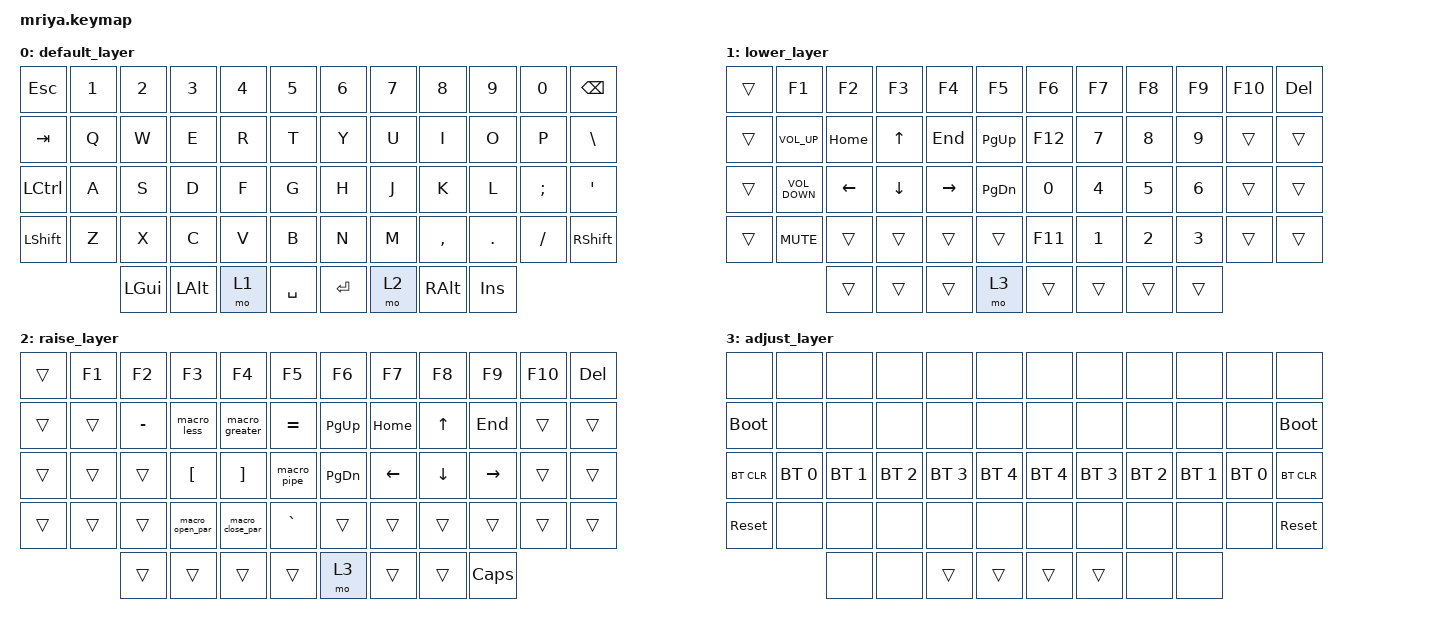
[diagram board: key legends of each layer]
/*
 * Copyright (c) 2023 Andrei Gaevskii
 *
 * SPDX-License-Identifier: MIT
 */

#include <behaviors.dtsi>
#include <dt-bindings/zmk/bt.h>
#include <dt-bindings/zmk/keys.h>

#define DEF 0
#define LWR 1
#define RSE 2
#define ADJ 3

&lt { quick_tap_ms = <200>; };

&mt { quick_tap_ms = <200>; };

/ {
    macros {
        macro_less: macro_less {
            compatible = "zmk,behavior-macro";
            #binding-cells = <0>;
            bindings =
                <&macro_press>,
                <&kp LEFT_SHIFT>,
                <&macro_tap>,
                <&kp COMMA>,
                <&macro_release>,
                <&kp LEFT_SHIFT>;

            label = "MACRO_LESS";
            wait-ms = <20>;
        };

        macro_greater: macro_greater {
            compatible = "zmk,behavior-macro";
            #binding-cells = <0>;
            bindings =
                <&macro_press>,
                <&kp LEFT_SHIFT>,
                <&macro_tap>,
                <&kp PERIOD>,
                <&macro_release>,
                <&kp LEFT_SHIFT>;

            label = "MACRO_GREATER";
            wait-ms = <20>;
        };

        macro_open_par: macro_open_par {
            compatible = "zmk,behavior-macro";
            #binding-cells = <0>;
            bindings =
                <&macro_press>,
                <&kp LEFT_SHIFT>,
                <&macro_tap>,
                <&kp N9>,
                <&macro_release>,
                <&kp LEFT_SHIFT>;

            label = "MACRO_OPEN_PAR";
            wait-ms = <20>;
        };

        macro_close_par: macro_close_par {
            compatible = "zmk,behavior-macro";
            #binding-cells = <0>;
            bindings =
                <&macro_press>,
                <&kp LEFT_SHIFT>,
                <&macro_tap>,
                <&kp N0>,
                <&macro_release>,
                <&kp LEFT_SHIFT>;

            label = "MACRO_CLOSE_PAR";
            wait-ms = <20>;
        };

        macro_pipe: macro_pipe {
            compatible = "zmk,behavior-macro";
            #binding-cells = <0>;
            bindings =
                <&macro_press>,
                <&kp LEFT_SHIFT>,
                <&macro_tap>,
                <&kp NON_US_BACKSLASH>,
                <&macro_release>,
                <&kp LEFT_SHIFT>;

            label = "MACRO_PIPE";
            wait-ms = <20>;
        };
    };

    keymap {
        compatible = "zmk,keymap";

        default_layer {
            bindings = <
  &kp ESCAPE      &kp N1  &kp N2    &kp N3        &kp N4  &kp N5       &kp N6     &kp N7  &kp N8     &kp N9   &kp N0    &kp BSPC
  &kp TAB         &kp Q   &kp W     &kp E         &kp R   &kp T        &kp Y      &kp U   &kp I      &kp O    &kp P     &kp BSLH
  &kp LCTRL       &kp A   &kp S     &kp D         &kp F   &kp G        &kp H      &kp J   &kp K      &kp L    &kp SEMI  &kp SQT
  &kp LEFT_SHIFT  &kp Z   &kp X     &kp C         &kp V   &kp B        &kp N      &kp M   &kp COMMA  &kp DOT  &kp FSLH  &kp RIGHT_SHIFT
                          &kp LGUI  &kp LEFT_ALT  &mo 1   &kp SPACE    &kp ENTER  &mo 2   &kp RALT   &kp INS
            >;
        };

        lower_layer {
            bindings = <
  &trans  &kp F1             &kp F2    &kp F3    &kp F4     &kp F5           &kp F6   &kp F7  &kp F8  &kp F9  &kp F10  &kp DELETE
  &trans  &kp C_VOLUME_UP    &kp HOME  &kp UP    &kp END    &kp PAGE_UP      &kp F12  &kp N7  &kp N8  &kp N9  &trans   &trans
  &trans  &kp C_VOLUME_DOWN  &kp LEFT  &kp DOWN  &kp RIGHT  &kp PAGE_DOWN    &kp N0   &kp N4  &kp N5  &kp N6  &trans   &trans
  &trans  &kp C_MUTE         &trans    &trans    &trans     &trans           &kp F11  &kp N1  &kp N2  &kp N3  &trans   &trans
                             &trans    &trans    &trans     &mo 3            &trans   &trans  &trans  &trans
            >;
        };

        raise_layer {
            bindings = <
  &trans  &kp F1  &kp F2     &kp F3           &kp F4            &kp F5         &kp F6         &kp F7    &kp F8    &kp F9        &kp F10  &kp DELETE
  &trans  &trans  &kp MINUS  &macro_less      &macro_greater    &kp EQUAL      &kp PAGE_UP    &kp HOME  &kp UP    &kp END       &trans   &trans
  &trans  &trans  &trans     &kp LBKT         &kp RBKT          &macro_pipe    &kp PAGE_DOWN  &kp LEFT  &kp DOWN  &kp RIGHT     &trans   &trans
  &trans  &trans  &trans     &macro_open_par  &macro_close_par  &kp GRAVE      &trans         &trans    &trans    &trans        &trans   &trans
                  &trans     &trans           &trans            &trans         &mo 3          &trans    &trans    &kp CAPSLOCK
            >;
        };

        adjust_layer {
            bindings = <
  &none        &none         &none         &none         &none         &none           &none         &none         &none         &none         &none         &none
  &bootloader  &none         &none         &none         &none         &none           &none         &none         &none         &none         &none         &bootloader
  &bt BT_CLR   &bt BT_SEL 0  &bt BT_SEL 1  &bt BT_SEL 2  &bt BT_SEL 3  &bt BT_SEL 4    &bt BT_SEL 4  &bt BT_SEL 3  &bt BT_SEL 2  &bt BT_SEL 1  &bt BT_SEL 0  &bt BT_CLR
  &sys_reset   &none         &none         &none         &none         &none           &none         &none         &none         &none         &none         &sys_reset
                             &none         &none         &trans        &trans          &trans        &trans        &none         &none
            >;
        };
    };
};
